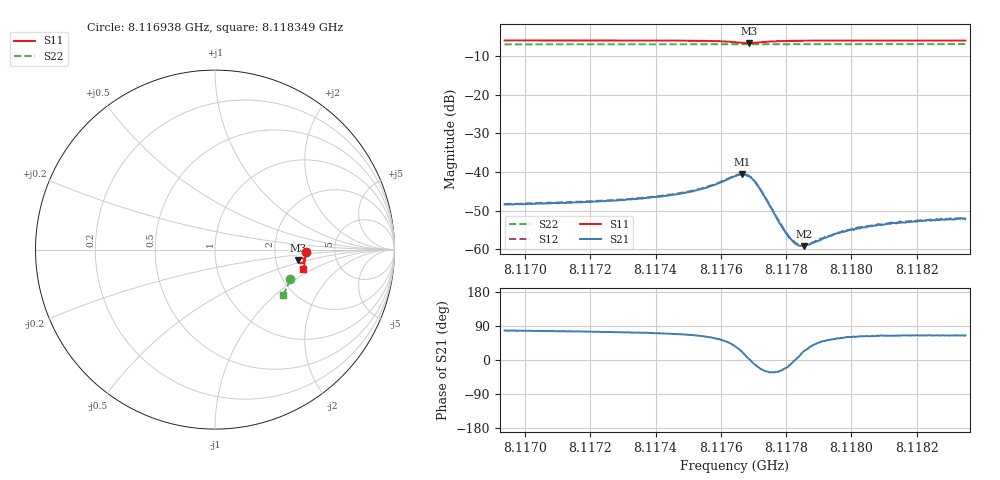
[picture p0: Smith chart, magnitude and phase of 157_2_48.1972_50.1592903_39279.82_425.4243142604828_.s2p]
#  HZ  S  RI  R  50.00
! Rohde & Schwarz Vector Network Analyzer
! Rohde-Schwarz,ZNB20-2Port,1311601062101988,3.16
! Created: UTC 3/20/2024, 11:43:04 AM
! freq[Hz]  re:S11  im:S11  re:S21  im:S21  re:S12  im:S12  re:S22  im:S22
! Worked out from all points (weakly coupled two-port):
!   401 points, 8.116938 GHz to 8.118349 GHz, reference 50 ohm
!   highest |S21| = -40.57 dB at 8.117665 GHz (marker M1); lowest = -59.2 dB at 8.117855 GHz (marker M2)
!   lowest |S11| = -6.6 dB at 8.117686 GHz (marker M3), VSWR 2.76, Z = 134 - j20.1 ohm
!   |S11| at or under -10 dB: nowhere
!   |S22| runs from -6.9 to -6.8 dB; largest |S21 - S12| = 0.00026
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8.1169379e9  0.506 -0.0122  0.000797 0.00372  0.000861 0.00376  0.419 -0.1653
8.1171742e9  0.5048 -0.0311  0.00103 0.00395  0.00111 0.00399  0.4135 -0.1807
8.1173118e9  0.5034 -0.0426  0.00127 0.00423  0.00137 0.00424  0.4098 -0.1897
8.1174106e9  0.5017 -0.0515  0.0016 0.00453  0.00168 0.00458  0.4071 -0.1961
8.1174882e9  0.4994 -0.0597  0.00206 0.00493  0.0022 0.00501  0.4049 -0.2011
8.1175517e9  0.4956 -0.0673  0.00293 0.00546  0.00304 0.00558  0.4028 -0.2052
8.1176434e9  0.4754 -0.0758  0.00715 0.00526  0.00732 0.00527  0.3993 -0.2109
8.1176646e9  0.4669 -0.0703  0.00867 0.00353  0.00884 0.00345  0.3984 -0.2119
8.1176858e9  0.464 -0.0585  0.00878 0.000434  0.00897 0.000435  0.3977 -0.2126
8.1176963e9  0.4664 -0.0525  0.00811 -0.00083  0.00824 -0.000924  0.3976 -0.2131
8.1177175e9  0.4756 -0.046  0.00582 -0.00223  0.00589 -0.00234  0.3974 -0.214
8.117781e9  0.4938 -0.0534  0.00187 -0.00103  0.00192 -0.00106  0.3962 -0.2183
8.1178057e9  0.4962 -0.0577  0.00141 -0.00045  0.00146 -0.000439  0.3957 -0.22
8.1178198e9  0.497 -0.0599  0.00126 -0.000151  0.0013 -0.000167  0.3952 -0.2212
8.1178339e9  0.4976 -0.0621  0.00115 0.000109  0.00117 0.000103  0.3948 -0.2219
8.1178551e9  0.4981 -0.065  0.001 0.000438  0.00105 0.00043  0.3943 -0.2234
8.1178798e9  0.4984 -0.0681  0.000959 0.000743  0.00097 0.000738  0.3934 -0.2251
8.1179257e9  0.4984 -0.0733  0.000872 0.00114  0.000931 0.00116  0.3919 -0.2278
8.1179856e9  0.4982 -0.0793  0.000846 0.00151  0.000907 0.00152  0.3899 -0.2317
8.1181161e9  0.4966 -0.0908  0.000943 0.00194  0.000985 0.00196  0.3855 -0.2398
8.118229e9  0.495 -0.1  0.000995 0.00212  0.00102 0.00215  0.3817 -0.2467
8.118349e9  0.493 -0.1094  0.00104 0.00223  0.00107 0.0023  0.3772 -0.2539
